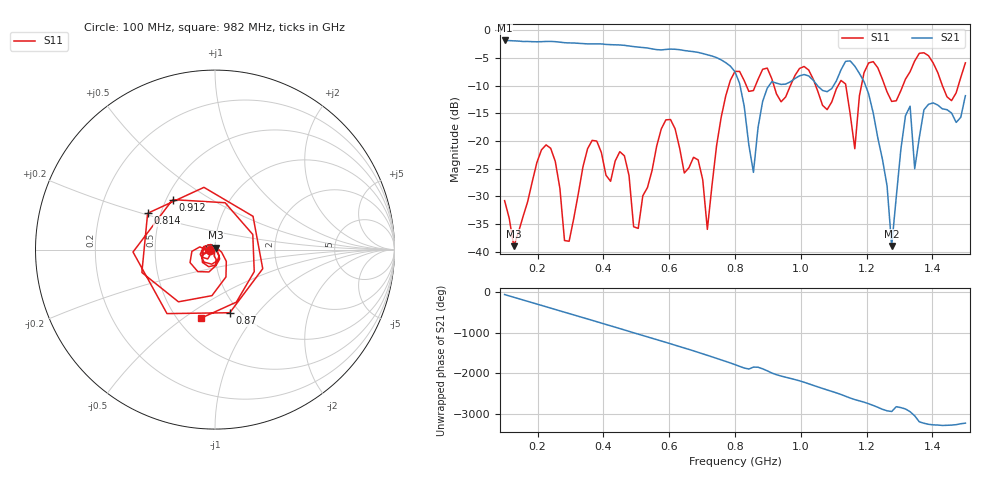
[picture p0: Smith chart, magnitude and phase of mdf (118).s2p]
! NanoVNA-App
! Date: 2025-09-25 15:39:20
! Start: 100MHz Stop: 1,5GHz Points: 101
! S-Parameter data: F S11 S21 S12 S22
# Hz S RI R 50
!  Frequency  S11_Real  S11_Imag  S21_Real  S21_Imag  S12_Real  S12_Imag  S22_Real  S22_Imag
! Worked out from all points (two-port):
!   101 points, 100 MHz to 1.5 GHz, reference 50 ohm
!   highest |S21| = -1.80 dB at 100 MHz (marker M1); lowest = -39.0 dB at 1.276 GHz (marker M2)
!   |S21| within 3 dB of the highest: start of sweep to 739 MHz
!   lowest |S11| = -39.0 dB at 128 MHz (marker M3), VSWR 1.02, Z = 50.3 + j1.07 ohm
!   |S11| at or under -10 dB: start of sweep to 781 MHz; 918.4 MHz to 968.1 MHz (49.64 MHz wide, 5.26 % of centre); 1.045 GHz to 1.113 GHz (67.78 MHz wide, 6.28 % of centre) (the widest 3 of 7)
!   S12 and S22 are empty: the file has one direction only
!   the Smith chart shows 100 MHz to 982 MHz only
!   S11 on the Smith chart (normalised r, x): 100 MHz: 0.94, -0.01; 814 MHz: 0.42, +0.21; 870 MHz: 0.90, -0.73; 912 MHz: 0.54, +0.35; 982 MHz: 0.65, -0.58
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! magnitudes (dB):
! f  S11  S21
! 100 MHz  -30.8  -1.8
! 128 MHz  -39.0  -1.9
! 212 MHz  -21.6  -2.0
! 282 MHz  -38.0  -2.2
! 338 MHz  -24.7  -2.4
! 464 MHz  -22.7  -2.7
! 506 MHz  -35.8  -3.0
! 576 MHz  -17.8  -3.5
! 716 MHz  -36.0  -4.4
! 800 MHz  -7.4  -7.5
! 814 MHz  -7.4  -9.6
! 856 MHz  -10.9  -25.7
! 870 MHz  -8.8  -17.6
! 912 MHz  -8.8  -9.3
! 982 MHz  -8.2  -8.7
! 1.038 GHz  -8.8  -9.0
! 1.164 GHz  -21.4  -6.4
! 1.192 GHz  -7.6  -9.2
! 1.276 GHz  -12.8  -39.0
! 1.332 GHz  -7.5  -13.7
! 1.346 GHz  -5.5  -25.0
! 1.5 GHz  -5.9  -11.8
